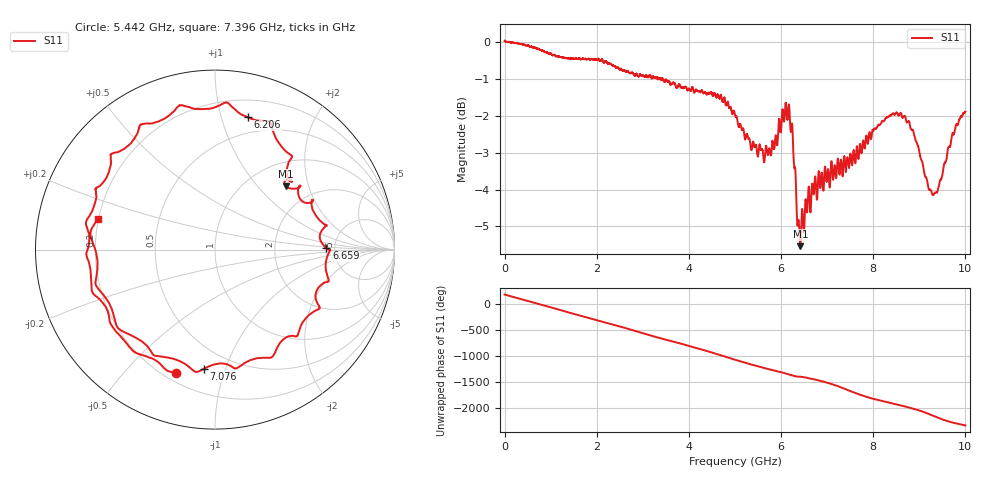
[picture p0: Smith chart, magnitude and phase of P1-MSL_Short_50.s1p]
! 2/19/2018 12:53:41 PM
! E:\STEPPED_EXPERIMENT_2018-02-19\P1-MSL_SHORT_50.S1P
! CHANNEL.1
! TR.MEASUREMENT
! CORRECTED.DATA
# GHZ S RI R 50.0
! FREQ.GHZ  S11RE  S11IM
!; PortSelection: Port_1
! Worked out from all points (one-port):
!   10000 points, 1 MHz to 10 GHz, reference 50 ohm
!   lowest |S11| = -5.5 dB at 6.418 GHz (marker M1), VSWR 3.24, Z = 73 + j71.7 ohm
!   |S11| at or under -10 dB: nowhere
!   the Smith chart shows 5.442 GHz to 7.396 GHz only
!   S11 on the Smith chart (normalised r, x): 5.442 GHz: 0.24, -0.70; 6.206 GHz: 0.35, +1.22; 6.659 GHz: 4.28, +0.12; 7.076 GHz: 0.36, -0.85; 7.396 GHz: 0.20, +0.12
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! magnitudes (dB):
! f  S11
! 1 MHz  0.0
! 1.251 GHz  -0.4
! 2.501 GHz  -0.7
! 3.751 GHz  -1.2
! 4.66 GHz  -1.5
! 5.001 GHz  -2.0
! 5.442 GHz  -2.8
! 5.748 GHz  -2.9
! 5.886 GHz  -2.5
! 6.068 GHz  -2.1
! 6.206 GHz  -2.4
! 6.251 GHz  -2.4
! 6.377 GHz  -4.8
! 6.418 GHz  -5.5
! 6.458 GHz  -4.5
! 6.568 GHz  -4.6
! 6.659 GHz  -4.1
! 6.71 GHz  -4.1
! 7.076 GHz  -3.5
! 7.396 GHz  -3.4
! 7.501 GHz  -3.0
! 8.32 GHz  -2.0
! 8.751 GHz  -2.2
! 9.201 GHz  -4.0
! 9.322 GHz  -4.1
! 9.433 GHz  -3.9
! 9.754 GHz  -2.5
! 10 GHz  -1.9
